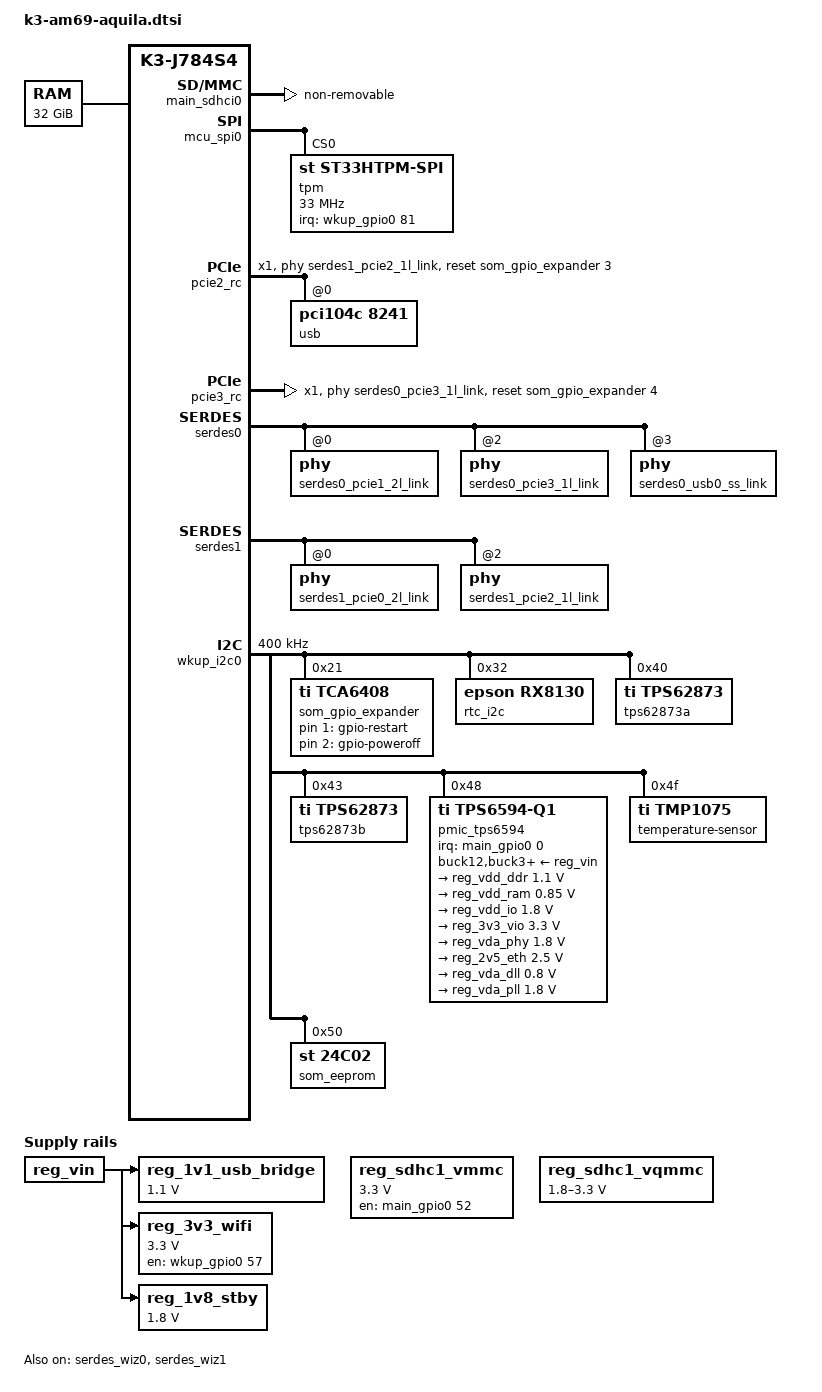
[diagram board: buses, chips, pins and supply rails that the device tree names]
// SPDX-License-Identifier: GPL-2.0-or-later OR MIT
/*
 * Copyright (C) 2025 Toradex
 *
 * https://www.toradex.com/computer-on-modules/aquila-arm-family/ti-am69
 */

#include <dt-bindings/gpio/gpio.h>
#include <dt-bindings/input/input.h>
#include <dt-bindings/net/ti-dp83867.h>
#include <dt-bindings/phy/phy-cadence.h>
#include <dt-bindings/usb/pd.h>
#include "k3-j784s4.dtsi"

/ {
	chosen {
		stdout-path = "serial2:115200n8";
	};

	aliases {
		can0 = &main_mcan10;
		can1 = &mcu_mcan0;
		can2 = &main_mcan13;
		can3 = &mcu_mcan1;
		eeprom0 = &som_eeprom;
		ethernet0 = &mcu_cpsw_port1;
		ethernet1 = &main_cpsw0_port8;
		i2c0 = &wkup_i2c0;
		i2c1 = &mcu_i2c0;
		i2c2 = &mcu_i2c1;
		i2c3 = &main_i2c0;
		i2c4 = &main_i2c1;
		i2c5 = &main_i2c2;
		i2c6 = &main_i2c5;
		mmc0 = &main_sdhci0;
		mmc1 = &main_sdhci1;
		rtc0 = &rtc_i2c;
		serial0 = &main_uart4;
		serial1 = &wkup_uart0;
		serial2 = &main_uart8;
		serial3 = &mcu_uart0;
		usb0 = &usb0;
	};

	aquila_key_power: gpio-key-power {
		compatible = "gpio-keys";
		pinctrl-names = "default";
		pinctrl-0 = <&pinctrl_pwr_btn_int>;
		status = "disabled";

		key-power {
			/* Aquila CTRL_PWR_BTN_MICO# (AQUILA B93) */
			gpios = <&wkup_gpio0 36 GPIO_ACTIVE_LOW>;
			label = "Power Button";
			linux,code = <KEY_POWER>;
		};
	};

	aquila_key_wake: gpio-key-wakeup {
		compatible = "gpio-keys";
		pinctrl-names = "default";
		pinctrl-0 = <&pinctrl_ctrl_wake1_mico>;
		status = "disabled";

		key-wakeup {
			/* Aquila CTRL_WAKE1_MICO# (AQUILA D6) */
			gpios = <&wkup_gpio0 49 GPIO_ACTIVE_LOW>;
			label = "Wake Up";
			linux,code = <KEY_WAKEUP>;
			wakeup-source;
		};
	};

	/* Aquila CTRL_RESET_MICO# (AQUILA B92) */
	gpio-restart {
		compatible = "gpio-restart";
		/* COLD_RESET_REQ */
		gpios = <&som_gpio_expander 1 GPIO_ACTIVE_HIGH>;
		priority = <192>;
	};

	/* PWR_DOWN_REQ */
	gpio-poweroff {
		compatible = "gpio-poweroff";
		/* PWR_DOWN_REQ */
		gpios = <&som_gpio_expander 2 GPIO_ACTIVE_HIGH>;
		timeout-ms = <3000>;
	};

	memory@80000000 {
		device_type = "memory";
		/* 32G RAM */
		reg = <0x00 0x80000000 0x00 0x80000000>,
		      <0x08 0x80000000 0x07 0x80000000>;
	};

	reserved_memory: reserved-memory {
		#address-cells = <2>;
		#size-cells = <2>;
		ranges;

		secure_ddr: optee@9e800000 {
			reg = <0x00 0x9e800000 0x00 0x01800000>;
			no-map;
		};

		mcu_r5fss0_core0_dma_memory_region: memory@a0000000 {
			compatible = "shared-dma-pool";
			reg = <0x00 0xa0000000 0x00 0x100000>;
			no-map;
		};

		mcu_r5fss0_core0_memory_region: memory@a0100000 {
			compatible = "shared-dma-pool";
			reg = <0x00 0xa0100000 0x00 0xf00000>;
			no-map;
		};
	};

	/* Module Power Supply (VCC) */
	reg_vin: regulator-vin {
		compatible = "regulator-fixed";
		regulator-name = "+V_IN";
	};

	/* Enabled by EN_3V3_VIO (PMIC_GPIO_9) */
	reg_1v1_usb_bridge: regulator-1v1-vio {
		compatible = "regulator-fixed";
		regulator-max-microvolt = <1100000>;
		regulator-min-microvolt = <1100000>;
		regulator-name = "+V1.1_VIO";
		vin-supply = <&reg_vin>;
	};

	reg_3v3_wifi: regulator-3v3-wifi {
		compatible = "regulator-fixed";
		pinctrl-names = "default";
		pinctrl-0 = <&pinctrl_en_3v3_wifi>;
		gpio = <&wkup_gpio0 57 GPIO_ACTIVE_HIGH>;
		enable-active-high;
		regulator-always-on;
		regulator-boot-on;
		regulator-max-microvolt = <3300000>;
		regulator-min-microvolt = <3300000>;
		regulator-name = "+V3.3_WIFI";
		startup-delay-us = <20000>;
		vin-supply = <&reg_vin>;
	};

	reg_1v8_stby: regulator-1v8-stby {
		compatible = "regulator-fixed";
		regulator-max-microvolt = <1800000>;
		regulator-min-microvolt = <1800000>;
		regulator-name = "+V1.8_STBY";
		vin-supply = <&reg_vin>;
	};

	/* Aquila SD_1_PWR_EN */
	reg_sdhc1_vmmc: regulator-sdhci1 {
		compatible = "regulator-fixed";
		pinctrl-names = "default";
		pinctrl-0 = <&pinctrl_sd1_pwr_en>;
		/* Aquila SD_1_PWR_EN (AQUILA A6) */
		gpio = <&main_gpio0 52 GPIO_ACTIVE_HIGH>;
		enable-active-high;
		off-on-delay-us = <100000>;
		regulator-max-microvolt = <3300000>;
		regulator-min-microvolt = <3300000>;
		regulator-name = "+3V3_SD";
		startup-delay-us = <20000>;
	};

	reg_sdhc1_vqmmc: regulator-sdhci1-vqmmc {
		compatible = "regulator-gpio";
		/* SDIO_PWR_SEL_3.3V */
		gpios = <&som_gpio_expander 7 GPIO_ACTIVE_HIGH>;
		regulator-max-microvolt = <3300000>;
		regulator-min-microvolt = <1800000>;
		regulator-name = "+VDD_SD_DV";
		states = <1800000 0x0>,
			 <3300000 0x1>;
	};

	/* On-module USB_1_SS mux */
	usb0ss_mux: gpio-sbu-mux {
		compatible = "ti,tmuxhs4212", "gpio-sbu-mux";
		orientation-switch;
		/* USB_MUX_SEL */
		select-gpios = <&som_gpio_expander 0 GPIO_ACTIVE_HIGH>;
		status = "disabled";
	};
};

&main_pmx0 {
	/* Aquila DP_1_HPD */
	pinctrl_main_dp0_hpd: main-dp0-hpd-default-pins {
		pinctrl-single,pins = <
			J784S4_IOPAD(0x014, PIN_INPUT, 13) /* (AG33) MCAN14_TX.DP0_HPD */ /* AQUILA B59 */
		>;
	};

	/* Aquila PWM_1 */
	pinctrl_main_ehrpwm0_b: main-ehrpwm0b-default-pins {
		pinctrl-single,pins = <
			J784S4_IOPAD(0x064, PIN_OUTPUT, 9) /* (AF38) MCAN0_TX.EHRPWM0_B */ /* AQUILA C25 */
		>;
	};

	/* Aquila PWM_2 */
	pinctrl_main_ehrpwm1_a: main-ehrpwm1a-default-pins {
		pinctrl-single,pins = <
			J784S4_IOPAD(0x060, PIN_OUTPUT, 9) /* (AE36) MCASP2_AXR1.EHRPWM1_A */ /* AQUILA C26 */
		>;
	};

	/* Aquila PWM_3_DSI */
	pinctrl_main_ehrpwm5_a: main-ehrpwm5a-default-pins {
		pinctrl-single,pins = <
			J784S4_IOPAD(0x084, PIN_OUTPUT, 9) /* (AG38) MCASP0_AXR5.EHRPWM5_A */ /* AQUILA B46 */
		>;
	};

	/* Aquila PWM_4_DP */
	pinctrl_main_ehrpwm2_a: main-ehrpwm2a-default-pins {
		pinctrl-single,pins = <
			J784S4_IOPAD(0x040, PIN_INPUT, 9) /* (AF37) MCASP0_AXR0.EHRPWM2_A */ /* AQUILA B58 */
		>;
	};

	/* PMIC_INT# */
	pinctrl_pmic_int: main-gpio0-0-default-pins {
		pinctrl-single,pins = <
			J784S4_IOPAD(0x000, PIN_INPUT, 7) /* (AN35) EXTINTn.GPIO0_0 */
		>;
	};

	/* Aquila GPIO_09_CSI_1 */
	pinctrl_gpio_09_csi_1: main-gpio0-1-default-pins {
		pinctrl-single,pins = <
			J784S4_IOPAD(0x004, PIN_INPUT, 7) /* (AG36) MCAN12_TX.GPIO0_1 */ /* AQUILA B17 */
		>;
	};

	/* Aquila GPIO_10_CSI_1 */
	pinctrl_gpio_10_csi_1: main-gpio0-2-default-pins {
		pinctrl-single,pins = <
			J784S4_IOPAD(0x008, PIN_INPUT, 7) /* (AJ33) MCAN12_RX.GPIO0_2 */ /* AQUILA B18 */
		>;
	};

	/* Aquila USB_1_OC# */
	pinctrl_usb1_oc: main-gpio0-10-default-pins {
		pinctrl-single,pins = <
			J784S4_IOPAD(0x028, PIN_INPUT, 7) /* (AE33) MCAN16_RX.GPIO0_10 */ /* AQUILA B75 */
		>;
	};

	/* Aquila USB_1_EN */
	pinctrl_usb1_en_gpio: main-gpio0-11-default-pins {
		pinctrl-single,pins = <
			J784S4_IOPAD(0x02c, PIN_INPUT, 7) /* (AL32) GPIO0_11 */ /* AQUILA B77 */
		>;
	};

	/* Aquila GPIO_17_DSI_1 */
	pinctrl_gpio_17_dsi_1: main-gpio0-12-default-pins {
		pinctrl-single,pins = <
			J784S4_IOPAD(0x030, PIN_INPUT, 7) /* (AK37) GPIO0_12 */ /* AQUILA B42 */
		>;
	};

	/* Aquila GPIO_19_DSI_1 */
	pinctrl_gpio_19_dsi_1: main-gpio0-13-default-pins {
		pinctrl-single,pins = <
			J784S4_IOPAD(0x034, PIN_INPUT, 7) /* (AJ34) PMIC_WAKE0n.GPIO0_13 */ /* AQUILA B44 */
		>;
	};

	/* Aquila GPIO_02 */
	pinctrl_gpio_02: main-gpio0-17-default-pins {
		pinctrl-single,pins = <
			J784S4_IOPAD(0x044, PIN_INPUT, 7) /* (AG37) MCASP0_AXR1.GPIO0_17 */ /* AQUILA D24 */
		>;
	};

	/* Aquila GPIO_20_DSI_1 */
	pinctrl_gpio_20_dsi_1: main-gpio0-18-default-pins {
		pinctrl-single,pins = <
			J784S4_IOPAD(0x048, PIN_INPUT, 7) /* (AK33) MCASP0_AXR2.GPIO0_18 */ /* AQUILA B45 */
		>;
	};

	/* Aquila GPIO_21_DP */
	pinctrl_gpio_21_dp: main-gpio0-21-default-pins {
		pinctrl-single,pins = <
			J784S4_IOPAD(0x054, PIN_INPUT, 7) /* (AD37) MCASP2_ACLKX.GPIO0_21 */ /* AQUILA B57 */
		>;
	};

	/* Aquila USB_1_INT# */
	pinctrl_usb1_int: main-gpio0-28-default-pins {
		pinctrl-single,pins = <
			J784S4_IOPAD(0x070, PIN_INPUT, 7) /* (AH38) MCAN1_RX.GPIO0_28 */ /* AQUILA B74 */
		>;
	};

	/* Aquila GPIO_03 */
	pinctrl_gpio_03: main-gpio0-29-default-pins {
		pinctrl-single,pins = <
			J784S4_IOPAD(0x074, PIN_INPUT, 7) /* (AC33) MCAN2_TX.GPIO0_29 */ /* AQUILA D25 */
		>;
	};

	/* Aquila GPIO_18_DSI_1 */
	pinctrl_gpio_18_dsi_1: main-gpio0-31-default-pins {
		pinctrl-single,pins = <
			J784S4_IOPAD(0x07c, PIN_INPUT, 7) /* (AJ38) MCASP0_AXR3.GPIO0_31 */ /* AQUILA B43 */
		>;
	};

	/* Aquila PCIE_1_RESET# */
	pinctrl_pcie0_reset: main-gpio0-32-default-pins {
		pinctrl-single,pins = <
			J784S4_IOPAD(0x080, PIN_INPUT, 7) /* (AK34) MCASP0_AXR4.GPIO0_32 */ /* AQUILA C38 */
		>;
	};

	/* Aquila PWM_3_DSI as GPIO */
	pinctrl_pwm3_dsi_gpio: main-gpio0-33-default-pins {
		pinctrl-single,pins = <
			J784S4_IOPAD(0x084, PIN_INPUT, 7) /* (AG38) MCASP0_AXR5.GPIO0_33 */ /* AQUILA B46 */
		>;
	};

	/* Aquila GPIO_01 */
	pinctrl_gpio_01: main-gpio0-34-default-pins {
		pinctrl-single,pins = <
			J784S4_IOPAD(0x088, PIN_INPUT, 7) /* (AF36) MCASP0_AXR6.GPIO0_34 */ /* AQUILA D23 */
		>;
	};

	/* Aquila PCIE_2_RESET# */
	pinctrl_pcie1_reset: main-gpio0-41-default-pins {
		pinctrl-single,pins = <
			J784S4_IOPAD(0x0a4, PIN_INPUT, 7) /* (AJ36) MCASP0_AXR13.GPIO0_41 */ /* AQUILA C35 */
		>;
	};

	/* Aquila ETH_2_xGMII_INT# */
	pinctrl_eth2_int: main-gpio0-44-default-pins {
		pinctrl-single,pins = <
			J784S4_IOPAD(0x0b0, PIN_INPUT_PULLUP, 7) /* (AL33) MCASP1_AXR3.GPIO0_44 */ /* AQUILA B81 */
		>;
	};

	/* Aquila GPIO_11_CSI_1 */
	pinctrl_gpio_11_csi_1: main-gpio0-47-default-pins {
		pinctrl-single,pins = <
			J784S4_IOPAD(0x0bc, PIN_INPUT, 7) /* (AD33) MCASP1_AFSX.GPIO0_47 */ /* AQUILA A11 */
		>;
	};

	/* Aquila GPIO_12_CSI_1 */
	pinctrl_gpio_12_csi_1: main-gpio0-48-default-pins {
		pinctrl-single,pins = <
			J784S4_IOPAD(0x0c0, PIN_INPUT, 7) /* (AD38) MCASP1_AXR0.GPIO0_48 */ /* AQUILA B19 */
		>;
	};

	/* Aquila SD_1_PWR_EN */
	pinctrl_sd1_pwr_en: main-gpio0-52-default-pins {
		pinctrl-single,pins = <
			J784S4_IOPAD(0x0d0, PIN_INPUT, 7) /* (AP38) SPI0_CS1.GPIO0_52 */ /* AQUILA A6 */
		>;
	};

	/* Aquila SD_1_CD# as GPIO */
	pinctrl_sd1_cd_gpio: main-gpio0-58-default-pins {
		pinctrl-single,pins = <
			J784S4_IOPAD(0x0e8, PIN_INPUT_PULLUP, 7) /* (AR38) TIMER_IO0.GPIO0_58 */ /* AQUILA A1 */
		>;
	};

	/* Aquila I2C_3_DSI1 */
	pinctrl_main_i2c0: main-i2c0-default-pins {
		pinctrl-single,pins = <
			J784S4_IOPAD(0x0e0, PIN_INPUT, 0) /* (AN36) I2C0_SCL */ /* AQUILA B41 */
			J784S4_IOPAD(0x0e4, PIN_INPUT, 0) /* (AP37) I2C0_SDA */ /* AQUILA B40 */
			>;
	};

	/* Aquila I2C_4_CSI1 */
	pinctrl_main_i2c1: main-i2c1-default-pins {
		pinctrl-single,pins = <
			J784S4_IOPAD(0x020, PIN_INPUT_PULLUP, 12) /* (AJ35) MCAN15_RX.I2C1_SCL */ /* AQUILA A13 */
			J784S4_IOPAD(0x024, PIN_INPUT_PULLUP, 12) /* (AH34) MCAN16_TX.I2C1_SDA */ /* AQUILA A12 */
			>;
	};

	/* Aquila I2C_5_CSI2 */
	pinctrl_main_i2c2: main-i2c2-default-pins {
		pinctrl-single,pins = <
			J784S4_IOPAD(0x04c, PIN_INPUT_PULLUP, 13) /* (AC32) MCASP1_AXR1.I2C2_SCL */ /* AQUILA C6 */
			J784S4_IOPAD(0x050, PIN_INPUT_PULLUP, 13) /* (AC37) MCASP1_AXR2.I2C2_SDA */ /* AQUILA C5 */
			>;
	};

	/* Aquila I2C_6 */
	pinctrl_main_i2c5: main-i2c5-default-pins {
		pinctrl-single,pins = <
			J784S4_IOPAD(0x01c, PIN_INPUT_PULLUP, 8) /* (AG34) MCAN15_TX.I2C5_SCL */ /* AQUILA C19 */
			J784S4_IOPAD(0x018, PIN_INPUT_PULLUP, 8) /* (AK36) MCAN14_RX.I2C5_SDA */ /* AQUILA C18 */
			>;
	};

	/* Aquila I2S_1_MCLK */
	pinctrl_audio_extrefclk1: audio-extrefclk1-default-pins {
		pinctrl-single,pins = <
			J784S4_IOPAD(0x078, PIN_OUTPUT, 1) /* (AH37) MCAN2_RX.AUDIO_EXT_REFCLK1 */ /* AQUILA B24 */
		>;
	};

	/* Aquila CAN_1 */
	pinctrl_main_mcan10: main-mcan10-default-pins {
		pinctrl-single,pins = <
			J784S4_IOPAD(0x0b8, PIN_INPUT, 0)  /* (AC34) MCASP1_ACLKX.MCAN10_RX */ /* AQUILA B49 */
			J784S4_IOPAD(0x0b4, PIN_OUTPUT, 0) /* (AL34) MCASP1_AXR4.MCAN10_TX  */ /* AQUILA B48 */
		>;
	};

	/* Aquila CAN_3 */
	pinctrl_main_mcan13: main-mcan13-default-pins {
		pinctrl-single,pins = <
			J784S4_IOPAD(0x010, PIN_INPUT, 0)  /* (AH33) MCAN13_RX */ /* AQUILA B54 */
			J784S4_IOPAD(0x00c, PIN_OUTPUT, 0) /* (AF33) MCAN13_TX */ /* AQUILA B53 */
		>;
	};

	/* Aquila I2S_1 */
	pinctrl_main_mcasp4: main-mcasp4-default-pins {
		pinctrl-single,pins = <
			J784S4_IOPAD(0x0c8, PIN_INPUT, 1)  /* (AJ32) EXT_REFCLK1.MCASP4_ACLKX      */ /* AQUILA B20 */
			J784S4_IOPAD(0x06c, PIN_INPUT, 1)  /* (AJ37) MCAN1_TX.MCASP4_AFSX          */ /* AQUILA B21 */
			J784S4_IOPAD(0x068, PIN_OUTPUT, 1) /* (AE38) MCAN0_RX.MCASP4_AXR1          */ /* AQUILA B22 */
			J784S4_IOPAD(0x0c4, PIN_INPUT, 1)  /* (AD36) ECAP0_IN_APWM_OUT.MCASP4_AXR2 */ /* AQUILA B23 */
		>;
	};

	/* Aquila ETH_2_XGMII_MDIO */
	pinctrl_main_mdio1: main-mdio1-default-pins {
		pinctrl-single,pins = <
			J784S4_IOPAD(0x058, PIN_OUTPUT, 4) /* (AE37) MCASP2_AFSX.MDIO1_MDC  */ /* AQUILA B90 */
			J784S4_IOPAD(0x05c, PIN_INPUT, 4)  /* (AC36) MCASP2_AXR0.MDIO1_MDIO */ /* AQUILA B89 */
		>;
	};

	/* Aquila SD_1 */
	pinctrl_main_mmc1: main-mmc1-default-pins {
		pinctrl-single,pins = <
			J784S4_IOPAD(0x104, PIN_INPUT, 0) /* (AB38) MMC1_CLK  */ /* AQUILA A5  */
			J784S4_IOPAD(0x108, PIN_INPUT, 0) /* (AB36) MMC1_CMD  */ /* AQUILA A7  */
			J784S4_IOPAD(0x100, PIN_INPUT, 0) /* (No Pin) MMC1_CLKLB */
			J784S4_IOPAD(0x0fc, PIN_INPUT, 0) /* (AA33) MMC1_DAT0 */ /* AQUILA A3  */
			J784S4_IOPAD(0x0f8, PIN_INPUT, 0) /* (AB34) MMC1_DAT1 */ /* AQUILA A2  */
			J784S4_IOPAD(0x0f4, PIN_INPUT, 0) /* (AA32) MMC1_DAT2 */ /* AQUILA A10 */
			J784S4_IOPAD(0x0f0, PIN_INPUT, 0) /* (AC38) MMC1_DAT3 */ /* AQUILA A8  */
		>;
	};

	/* Aquila SPI_2 */
	pinctrl_main_spi0: main-spi0-default-pins {
		pinctrl-single,pins = <
			J784S4_IOPAD(0x0d4, PIN_OUTPUT, 0) /* (AN38) SPI0_CLK */ /* AQUILA D14 */
			J784S4_IOPAD(0x0d8, PIN_INPUT, 0)  /* (AM35) SPI0_D0  */ /* AQUILA D15 */
			J784S4_IOPAD(0x0dc, PIN_OUTPUT, 0) /* (AM36) SPI0_D1  */ /* AQUILA D17 */
		>;
	};

	/* Aquila SPI_2 CS */
	pinctrl_main_spi0_cs0: main-spi0-cs0-default-pins {
		pinctrl-single,pins = <
			J784S4_IOPAD(0x0cc, PIN_OUTPUT, 7) /* (AM37) SPI0_CS0.GPIO0_51 */ /* AQUILA D16 */
		>;
	};

	/* Aquila SPI_1 */
	pinctrl_main_spi2: main-spi2-default-pins {
		pinctrl-single,pins = <
			J784S4_IOPAD(0x0a0, PIN_OUTPUT, 10) /* (AD34) MCASP0_AXR12.SPI2_CLK */ /* AQUILA D12 */
			J784S4_IOPAD(0x0a8, PIN_INPUT, 10)  /* (AF34) MCASP0_AXR14.SPI2_D0  */ /* AQUILA D10 */
			J784S4_IOPAD(0x0ac, PIN_OUTPUT, 10) /* (AE34) MCASP0_AXR15.SPI2_D1  */ /* AQUILA D11 */
			>;
	};

	/* Aquila SPI_1 CS */
	pinctrl_main_spi2_cs0: main-spi2-cs0-default-pins {
		pinctrl-single,pins = <
			J784S4_IOPAD(0x09c, PIN_OUTPUT, 7) /* (AF35) MCASP0_AXR11.GPIO0_39 */ /* AQUILA D9 */
		>;
	};

	/* Aquila UART_1 */
	pinctrl_main_uart4: main-uart4-default-pins {
		pinctrl-single,pins = <
			J784S4_IOPAD(0x094, PIN_INPUT, 11)  /* (AG35) MCASP0_AXR9.UART4_CTSn  */ /* AQUILA B36 */
			J784S4_IOPAD(0x098, PIN_OUTPUT, 11) /* (AH36) MCASP0_AXR10.UART4_RTSn */ /* AQUILA B38 */
			J784S4_IOPAD(0x08c, PIN_INPUT, 11)  /* (AE35) MCASP0_AXR7.UART4_RXD   */ /* AQUILA B35 */
			J784S4_IOPAD(0x090, PIN_OUTPUT, 11) /* (AC35) MCASP0_AXR8.UART4_TXD   */ /* AQUILA B37 */
		>;
	};

	/* Aquila UART_3, used as the Linux console */
	pinctrl_main_uart8: main-uart8-default-pins {
		pinctrl-single,pins = <
			J784S4_IOPAD(0x038, PIN_INPUT, 11)  /* (AK35) MCASP0_ACLKX.UART8_RXD */ /* AQUILA D19 */
			J784S4_IOPAD(0x03c, PIN_OUTPUT, 11) /* (AK38) MCASP0_AFSX.UART8_TXD  */ /* AQUILA D20 */
		>;
	};
};

&wkup_pmx0 {
	/* Aquila QSPI_1 (4-bit) */
	pinctrl_mcu_ospi0_4bit: mcu-ospi0-4bit-default-pins {
		pinctrl-single,pins = <
			J784S4_WKUP_IOPAD(0x000, PIN_OUTPUT, 0) /* (E32) MCU_OSPI0_CLK  */ /* AQUILA B65 */
			J784S4_WKUP_IOPAD(0x00c, PIN_INPUT, 0)  /* (B33) MCU_OSPI0_D0   */ /* AQUILA B68 */
			J784S4_WKUP_IOPAD(0x010, PIN_INPUT, 0)  /* (B32) MCU_OSPI0_D1   */ /* AQUILA B67 */
			J784S4_WKUP_IOPAD(0x014, PIN_INPUT, 0)  /* (C33) MCU_OSPI0_D2   */ /* AQUILA B61 */
			J784S4_WKUP_IOPAD(0x018, PIN_INPUT, 0)  /* (C35) MCU_OSPI0_D3   */ /* AQUILA B60 */
			J784S4_WKUP_IOPAD(0x008, PIN_INPUT, 0)  /* (C34) MCU_OSPI0_DQS  */ /* AQUILA B63 */
		>;
	};

	/* Aquila QSPI_1 (8-bit) */
	pinctrl_mcu_ospi0_8bit: mcu-ospi0-8bit-default-pins {
		pinctrl-single,pins = <
			J784S4_WKUP_IOPAD(0x000, PIN_OUTPUT, 0) /* (E32) MCU_OSPI0_CLK  */ /* AQUILA B65 */
			J784S4_WKUP_IOPAD(0x00c, PIN_INPUT, 0)  /* (B33) MCU_OSPI0_D0   */ /* AQUILA B68 */
			J784S4_WKUP_IOPAD(0x010, PIN_INPUT, 0)  /* (B32) MCU_OSPI0_D1   */ /* AQUILA B67 */
			J784S4_WKUP_IOPAD(0x014, PIN_INPUT, 0)  /* (C33) MCU_OSPI0_D2   */ /* AQUILA B61 */
			J784S4_WKUP_IOPAD(0x018, PIN_INPUT, 0)  /* (C35) MCU_OSPI0_D3   */ /* AQUILA B60 */
			J784S4_WKUP_IOPAD(0x01c, PIN_INPUT, 0)  /* (D33) MCU_OSPI0_D4   */ /* AQUILA B70 */
			J784S4_WKUP_IOPAD(0x020, PIN_INPUT, 0)  /* (D34) MCU_OSPI0_D5   */ /* AQUILA B71 */
			J784S4_WKUP_IOPAD(0x024, PIN_INPUT, 0)  /* (E34) MCU_OSPI0_D6   */ /* AQUILA B72 */
			J784S4_WKUP_IOPAD(0x028, PIN_INPUT, 0)  /* (E33) MCU_OSPI0_D7   */ /* AQUILA B73 */
			J784S4_WKUP_IOPAD(0x008, PIN_INPUT, 0)  /* (C34) MCU_OSPI0_DQS  */ /* AQUILA B63 */
		>;
	};

	/* Aquila QSPI_1_CS1# */
	pinctrl_mcu_ospi0_cs0: mcu-ospi0-cs0-default-pins {
		pinctrl-single,pins = <
			J784S4_WKUP_IOPAD(0x02c, PIN_OUTPUT, 0) /* (A32) MCU_OSPI0_CSn0 */ /* AQUILA B66 */
		>;
	};

	/* Aquila QSPI_1_CS2# */
	pinctrl_mcu_ospi0_cs1: mcu-ospi0-cs1-default-pins {
		pinctrl-single,pins = <
			J784S4_WKUP_IOPAD(0x030, PIN_OUTPUT, 0) /* (A33) MCU_OSPI0_CSn1 */ /* AQUILA B62 */
		>;
	};

	/* Aquila QSPI_1_SCK as GPIO */
	pinctrl_wkup_gpio_16: wkup-gpio0-16-default-pins {
		pinctrl-single,pins = <
			J784S4_WKUP_IOPAD(0x000, PIN_INPUT, 7) /* (E32) MCU_OSPI0_CLK.WKUP_GPIO0_16 */ /* AQUILA B65 */
		>;
	};

	/* Aquila GPIO_04 */
	pinctrl_gpio_04: wkup-gpio0-17-default-pins {
		pinctrl-single,pins = <
			J784S4_WKUP_IOPAD(0x004, PIN_INPUT, 7) /* (D32) MCU_OSPI0_LBCLKO.WKUP_GPIO0_17 */ /* AQUILA C20 */
		>;
	};

	/* Aquila QSPI_1_DQS as GPIO */
	pinctrl_wkup_gpio_18: wkup-gpio0-18-default-pins {
		pinctrl-single,pins = <
			J784S4_WKUP_IOPAD(0x008, PIN_INPUT, 7) /* (C34) MCU_OSPI0_DQS.WKUP_GPIO0_18 */ /* AQUILA B63 */
		>;
	};

	/* Aquila QSPI_1_IO0 as GPIO */
	pinctrl_wkup_gpio_19: wkup-gpio0-19-default-pins {
		pinctrl-single,pins = <
			J784S4_WKUP_IOPAD(0x00c, PIN_INPUT, 7) /* (B33) MCU_OSPI0_D0.WKUP_GPIO0_19 */ /* AQUILA B68 */
		>;
	};

	/* Aquila QSPI_1_IO1 as GPIO */
	pinctrl_wkup_gpio_20: wkup-gpio0-20-default-pins {
		pinctrl-single,pins = <
			J784S4_WKUP_IOPAD(0x010, PIN_INPUT, 7) /* (B32) MCU_OSPI0_D1.WKUP_GPIO0_20 */ /* AQUILA B67 */
		>;
	};

	/* Aquila QSPI_1_IO2 as GPIO */
	pinctrl_wkup_gpio_21: wkup-gpio0-21-default-pins {
		pinctrl-single,pins = <
			J784S4_WKUP_IOPAD(0x014, PIN_INPUT, 7) /* (C33) MCU_OSPI0_D2.WKUP_GPIO0_21 */ /* AQUILA B61 */
		>;
	};

	/* Aquila QSPI_1_IO3 as GPIO */
	pinctrl_wkup_gpio_22: wkup-gpio0-22-default-pins {
		pinctrl-single,pins = <
			J784S4_WKUP_IOPAD(0x018, PIN_INPUT, 7) /* (C35) MCU_OSPI0_D3.WKUP_GPIO0_22 */ /* AQUILA B60 */
		>;
	};

	/* Aquila QSPI_1_IO4 as GPIO */
	pinctrl_wkup_gpio_23: wkup-gpio0-23-default-pins {
		pinctrl-single,pins = <
			J784S4_WKUP_IOPAD(0x01c, PIN_INPUT, 7) /* (D33) MCU_OSPI0_D4.WKUP_GPIO0_23 */ /* AQUILA B70 */
		>;
	};

	/* Aquila QSPI_1_IO5 as GPIO */
	pinctrl_wkup_gpio_24: wkup-gpio0-24-default-pins {
		pinctrl-single,pins = <
			J784S4_WKUP_IOPAD(0x020, PIN_INPUT, 7) /* (D34) MCU_OSPI0_D5.WKUP_GPIO0_24 */ /* AQUILA B71 */
		>;
	};

	/* Aquila QSPI_1_IO6 as GPIO */
	pinctrl_wkup_gpio_25: wkup-gpio0-25-default-pins {
		pinctrl-single,pins = <
			J784S4_WKUP_IOPAD(0x024, PIN_INPUT, 7) /* (E34) MCU_OSPI0_D6.WKUP_GPIO0_25 */ /* AQUILA B72 */
		>;
	};

	/* Aquila QSPI_1_IO7 as GPIO */
	pinctrl_wkup_gpio_26: wkup-gpio0-26-default-pins {
		pinctrl-single,pins = <
			J784S4_WKUP_IOPAD(0x028, PIN_INPUT, 7) /* (E33) MCU_OSPI0_D7.WKUP_GPIO0_26 */ /* AQUILA B73 */
		>;
	};

	/* Aquila QSPI_1_CS#1 as GPIO */
	pinctrl_wkup_gpio_27: wkup-gpio0-27-default-pins {
		pinctrl-single,pins = <
			J784S4_WKUP_IOPAD(0x02c, PIN_INPUT, 7) /* (A32) MCU_OSPI0_CSn0.WKUP_GPIO0_27 */ /* AQUILA B66 */
		>;
	};

	/* Aquila QSPI_1_CS#2 as GPIO */
	pinctrl_wkup_gpio_28: wkup-gpio0-28-default-pins {
		pinctrl-single,pins = <
			J784S4_WKUP_IOPAD(0x030, PIN_INPUT, 7) /* (A33) MCU_OSPI0_CSn1.WKUP_GPIO0_28 */ /* AQUILA B62 */
		>;
	};
};

&wkup_pmx1 {
	/* Aquila UART_4 (RXD) */
	pinctrl_mcu_uart0_rx: mcu-uart0-rx-default-pins {
		pinctrl-single,pins = <
			J784S4_WKUP_IOPAD(0x018, PIN_INPUT, 4)  /* (D31) MCU_OSPI1_D1.MCU_UART0_RXD */ /* AQUILA D21 */
		>;
	};

	/* Aquila GPIO_05 */
	pinctrl_gpio_05: wkup-gpio0-29-default-pins {
		pinctrl-single,pins = <
			J784S4_WKUP_IOPAD(0x000, PIN_INPUT, 7) /* (B34) MCU_OSPI0_CSn2.WKUP_GPIO0_29 */ /* AQUILA C21 */
		>;
	};

	/* Aquila GPIO_06 */
	pinctrl_gpio_06: wkup-gpio0-30-default-pins {
		pinctrl-single,pins = <
			J784S4_WKUP_IOPAD(0x004, PIN_INPUT, 7) /* (C32) MCU_OSPI0_CSn3.WKUP_GPIO0_30 */ /* AQUILA C22 */
		>;
	};

	/* Aquila GPIO_07 */
	pinctrl_gpio_07: wkup-gpio0-31-default-pins {
		pinctrl-single,pins = <
			J784S4_WKUP_IOPAD(0x008, PIN_INPUT, 7) /* (F32) MCU_OSPI1_CLK.WKUP_GPIO0_31 */ /* AQUILA C23 */
		>;
	};

	/* Aquila GPIO_13_CSI_2 */
	pinctrl_gpio_13_csi_2: wkup-gpio0-32-default-pins {
		pinctrl-single,pins = <
			J784S4_WKUP_IOPAD(0x00c, PIN_INPUT, 7) /* (C31) MCU_OSPI1_LBCLKO.WKUP_GPIO0_32 */ /* AQUILA C1 */
		>;
	};

	/* Aquila GPIO_14_CSI_2 */
	pinctrl_gpio_14_csi_2: wkup-gpio0-33-default-pins {
		pinctrl-single,pins = <
			J784S4_WKUP_IOPAD(0x010, PIN_INPUT, 7) /* (F31) MCU_OSPI1_DQS.WKUP_GPIO0_33 */ /* AQUILA C2 */
		>;
	};

	/* RTC_IRQ# */
	pinctrl_rtc_irq: wkup-gpio0-34-default-pins {
		pinctrl-single,pins = <
			J784S4_WKUP_IOPAD(0x014, PIN_INPUT, 7) /* (E35) MCU_OSPI1_D0.WKUP_GPIO0_34 */
		>;
	};

	/* Aquila CTRL_PWR_BTN_MICO# (PWR_BTN_INT#) */
	pinctrl_pwr_btn_int: wkup-gpio0-36-default-pins {
		pinctrl-single,pins = <
			J784S4_WKUP_IOPAD(0x01c, PIN_INPUT_PULLUP, 7) /* (G31) MCU_OSPI1_D2.WKUP_GPIO0_36 */ /* AQUILA B92 */
		>;
	};

	/* Aquila GPIO_15_CSI_2 */
	pinctrl_gpio_15_csi_2: wkup-gpio0-37-default-pins {
		pinctrl-single,pins = <
			J784S4_WKUP_IOPAD(0x020, PIN_INPUT, 7) /* (F33) MCU_OSPI1_D3.WKUP_GPIO0_37 */ /* AQUILA C3 */
		>;
	};

	/* Aquila GPIO_08 */
	pinctrl_gpio_08: wkup-gpio0-38-default-pins {
		pinctrl-single,pins = <
			J784S4_WKUP_IOPAD(0x024, PIN_INPUT, 7) /* (G32) MCU_OSPI1_CSn0.WKUP_GPIO0_38 */ /* AQUILA C24 */
		>;
	};

	/* Aquila GPIO_16_CSI_2 */
	pinctrl_gpio_16_csi_2: wkup-gpio0-39-default-pins {
		pinctrl-single,pins = <
			J784S4_WKUP_IOPAD(0x028, PIN_INPUT, 7) /* (G33) MCU_OSPI1_CSn1.WKUP_GPIO0_39 */ /* AQUILA C4 */
		>;
	};
};

&wkup_pmx2 {
	/* Aquila ADC_[1-4] */
	pinctrl_mcu_adc0: mcu-adc0-default-pins {
		pinctrl-single,pins = <
			J784S4_WKUP_IOPAD(0x0cc, PIN_OUTPUT, 0) /* (P36) MCU_ADC0_AIN0 */ /* AQUILA D1 */
			J784S4_WKUP_IOPAD(0x0d0, PIN_OUTPUT, 0) /* (V36) MCU_ADC0_AIN1 */ /* AQUILA D2 */
			J784S4_WKUP_IOPAD(0x0d4, PIN_OUTPUT, 0) /* (T34) MCU_ADC0_AIN2 */ /* AQUILA D3 */
			J784S4_WKUP_IOPAD(0x0d8, PIN_OUTPUT, 0) /* (T36) MCU_ADC0_AIN3 */ /* AQUILA D4 */
		>;
	};

	/* Aquila CTRL_MCLK_MOCI */
	pinctrl_mcu_clkout0: mcu-clkout0-default-pins {
		pinctrl-single,pins = <
			J784S4_WKUP_IOPAD(0x084, PIN_OUTPUT, 6) /* (M38) WKUP_GPIO0_11.MCU_CLKOUT0 */ /* AQUILA A14 */
		>;
	};

	/* Aquila I2C_1 */
	pinctrl_mcu_i2c0: mcu-i2c0-default-pins {
		pinctrl-single,pins = <
			J784S4_WKUP_IOPAD(0x0a0, PIN_INPUT, 0) /* (M35) MCU_I2C0_SCL */ /* AQUILA D8 */
			J784S4_WKUP_IOPAD(0x0a4, PIN_INPUT, 0) /* (G34) MCU_I2C0_SDA */ /* AQUILA D7 */
		>;
	};

	/* Aquila I2C_2 */
	pinctrl_mcu_i2c1: mcu-i2c1-default-pins {
		pinctrl-single,pins = <
			J784S4_WKUP_IOPAD(0x078, PIN_INPUT_PULLUP, 0) /* (L35) WKUP_GPIO0_8.MCU_I2C1_SCL */ /* AQUILA C17 */
			J784S4_WKUP_IOPAD(0x07c, PIN_INPUT_PULLUP, 0) /* (L34) WKUP_GPIO0_9.MCU_I2C1_SDA */ /* AQUILA C16 */
		>;
	};

	/* Aquila CAN_2 */
	pinctrl_mcu_mcan0: mcu-mcan0-default-pins {
		pinctrl-single,pins = <
			J784S4_WKUP_IOPAD(0x054, PIN_INPUT, 0)  /* (F38) MCU_MCAN0_RX  */ /* AQUILA B51 */
			J784S4_WKUP_IOPAD(0x050, PIN_OUTPUT, 0) /* (K33) MCU_MCAN0_TX  */ /* AQUILA B50 */
		>;
	};

	/* Aquila CAN_4 */
	pinctrl_mcu_mcan1: mcu-mcan1-default-pins {
		pinctrl-single,pins = <
			J784S4_WKUP_IOPAD(0x06c, PIN_INPUT, 0)  /* (K36) WKUP_GPIO0_5.MCU_MCAN1_RX */ /* AQUILA B56 */
			J784S4_WKUP_IOPAD(0x068, PIN_OUTPUT, 0) /* (H35) WKUP_GPIO0_4.MCU_MCAN1_TX */ /* AQUILA B55 */
		>;
	};

	/* On-module ETH_1 MDIO */
	pinctrl_mcu_mdio: mcu-mdio-default-pins {
		pinctrl-single,pins = <
			J784S4_WKUP_IOPAD(0x034, PIN_OUTPUT, 0) /* (A36) MCU_MDIO0_MDC  */
			J784S4_WKUP_IOPAD(0x030, PIN_INPUT, 0)  /* (B35) MCU_MDIO0_MDIO */
		>;
	};

	/* On-module ETH_1 RGMII */
	pinctrl_mcu_rgmii1: mcu-rgmii1-default-pins {
		pinctrl-single,pins = <
			J784S4_WKUP_IOPAD(0x02c, PIN_INPUT, 0)  /* (A35) MCU_RGMII1_RD0    */
			J784S4_WKUP_IOPAD(0x028, PIN_INPUT, 0)  /* (B36) MCU_RGMII1_RD1    */
			J784S4_WKUP_IOPAD(0x024, PIN_INPUT, 0)  /* (C36) MCU_RGMII1_RD2    */
			J784S4_WKUP_IOPAD(0x020, PIN_INPUT, 0)  /* (D36) MCU_RGMII1_RD3    */
			J784S4_WKUP_IOPAD(0x01c, PIN_INPUT, 0)  /* (B37) MCU_RGMII1_RXC    */
			J784S4_WKUP_IOPAD(0x004, PIN_INPUT, 0)  /* (C37) MCU_RGMII1_RX_CTL */
			J784S4_WKUP_IOPAD(0x014, PIN_OUTPUT, 0) /* (D37) MCU_RGMII1_TD0    */
			J784S4_WKUP_IOPAD(0x010, PIN_OUTPUT, 0) /* (D38) MCU_RGMII1_TD1    */
			J784S4_WKUP_IOPAD(0x00c, PIN_OUTPUT, 0) /* (E37) MCU_RGMII1_TD2    */
			J784S4_WKUP_IOPAD(0x008, PIN_OUTPUT, 0) /* (E38) MCU_RGMII1_TD3    */
			J784S4_WKUP_IOPAD(0x018, PIN_OUTPUT, 0) /* (E36) MCU_RGMII1_TXC    */
			J784S4_WKUP_IOPAD(0x000, PIN_OUTPUT, 0) /* (C38) MCU_RGMII1_TX_CTL */
		>;
	};

	/* On-module SPI (TPM_SPI) */
	pinctrl_mcu_spi0: mcu-spi0-default-pins {
		pinctrl-single,pins = <
			J784S4_WKUP_IOPAD(0x038, PIN_OUTPUT, 0) /* (G38) MCU_SPI0_CLK */
			J784S4_WKUP_IOPAD(0x044, PIN_OUTPUT, 0) /* (F37) MCU_SPI0_CS0 */
			J784S4_WKUP_IOPAD(0x03c, PIN_INPUT, 0)  /* (H36) MCU_SPI0_D0  */
			J784S4_WKUP_IOPAD(0x040, PIN_OUTPUT, 0) /* (J38) MCU_SPI0_D1  */
		>;
	};

	/* Aquila UART_4 (TX) */
	pinctrl_mcu_uart0_tx: mcu-uart0-tx-default-pins {
		pinctrl-single,pins = <
			J784S4_WKUP_IOPAD(0x080, PIN_OUTPUT, 2) /* (L33) WKUP_GPIO0_10.MCU_UART0_TXD */ /* AQUILA D22 */
		>;
	};

	/* On-module Wi-Fi Power Enable */
	pinctrl_en_3v3_wifi: wkup-gpio0-57-default-pins {
		pinctrl-single,pins = <
			J784S4_WKUP_IOPAD(0x114, PIN_INPUT, 7) /* (M36) WKUP_GPIO0_57 */
		>;
	};

	/* On-module TPM IRQ# */
	pinctrl_tpm_irq: wkup-gpio0-81-default-pins {
		pinctrl-single,pins = <
			J784S4_WKUP_IOPAD(0x0f4, PIN_INPUT, 7) /* (V34) MCU_ADC1_AIN2.WKUP_GPIO0_81 */
		>;
	};

	/* On-module I2C - WKUP_I2C0 */
	pinctrl_wkup_i2c0: wkup-i2c0-default-pins {
		pinctrl-single,pins = <
			J784S4_WKUP_IOPAD(0x098, PIN_INPUT, 0) /* (N33) WKUP_I2C0_SCL */
			J784S4_WKUP_IOPAD(0x09c, PIN_INPUT, 0) /* (N35) WKUP_I2C0_SDA */
		>;
	};

	/* Aquila UART_2 */
	pinctrl_wkup_uart0: wkup-uart0-default-pins {
		pinctrl-single,pins = <
			J784S4_WKUP_IOPAD(0x070, PIN_INPUT, 0)  /* (L37) WKUP_GPIO0_6.WKUP_UART0_CTSn */ /* AQUILA B32 */
			J784S4_WKUP_IOPAD(0x074, PIN_OUTPUT, 0) /* (L36) WKUP_GPIO0_7.WKUP_UART0_RTSn */ /* AQUILA B34 */
			J784S4_WKUP_IOPAD(0x048, PIN_INPUT, 0)  /* (K35) WKUP_UART0_RXD               */ /* AQUILA B31 */
			J784S4_WKUP_IOPAD(0x04c, PIN_OUTPUT, 0) /* (K34) WKUP_UART0_TXD               */ /* AQUILA B33 */
		>;
	};
};

&wkup_pmx3 {
	/* Aquila CTRL_WAKE1_MICO# */
	pinctrl_ctrl_wake1_mico: wkup-gpio0-49-default-pins {
		pinctrl-single,pins = <
			J784S4_WKUP_IOPAD(0x000, PIN_INPUT_PULLUP, 7) /* (M33) WKUP_GPIO0_49 */ /* AQUILA D6 */
		>;
	};
};

/* Aquila I2S_1_MCLK */
&audio_refclk1 {
	assigned-clock-rates = <24576000>;
};

/* On-module ETH_1 MDIO */
&davinci_mdio {
	pinctrl-names = "default";
	pinctrl-0 = <&pinctrl_mcu_mdio>;
	status = "disabled";

	mcu_phy0: ethernet-phy@0 {
		reg = <0>;
		interrupt-parent = <&wkup_gpio0>;
		interrupts = <79 IRQ_TYPE_EDGE_FALLING>;
		ti,rx-internal-delay = <DP83867_RGMIIDCTL_2_00_NS>;
		ti,fifo-depth = <DP83867_PHYCR_FIFO_DEPTH_4_B_NIB>;
	};
};

&dss {
	assigned-clocks = <&k3_clks 218 2>,
			  <&k3_clks 218 5>;
	assigned-clock-parents = <&k3_clks 218 3>,
				 <&k3_clks 218 7>;
	status = "disabled";
};

&dss_ports {
	#address-cells = <1>;
	#size-cells = <0>;

	port@0 {
		reg = <0>;
		dpi0_out: endpoint {
			remote-endpoint = <&dp0_in>;
		};
	};
};

&dp0_ports {
	#address-cells = <1>;
	#size-cells = <0>;

	port@0 {
		reg = <0>;
		dp0_in: endpoint {
			remote-endpoint = <&dpi0_out>;
		};
	};
};

&main0_crit {
	temperature = <105000>;
};

&main0_thermal {
	trips {
		main0_alert0: trip-point0 {
			temperature = <70000>;
			hysteresis = <2000>;
			type = "active";
		};

		main0_alert1: trip-point1 {
			temperature = <85000>;
			hysteresis = <2000>;
			type = "active";
		};
	};
};

&main1_crit {
	temperature = <105000>;
};

&main1_thermal {
	trips {
		main1_alert0: trip-point0 {
			temperature = <70000>;
			hysteresis = <2000>;
			type = "active";
		};

		main1_alert1: trip-point1 {
			temperature = <85000>;
			hysteresis = <2000>;
			type = "active";
		};
	};
};

&main2_crit {
	temperature = <105000>;
};

&main2_thermal {
	trips {
		main2_alert0: trip-point0 {
			temperature = <70000>;
			hysteresis = <2000>;
			type = "active";
		};

		main2_alert1: trip-point1 {
			temperature = <85000>;
			hysteresis = <2000>;
			type = "active";
		};
	};
};

&main3_crit {
	temperature = <105000>;
};

&main3_thermal {
	trips {
		main3_alert0: trip-point0 {
			temperature = <70000>;
			hysteresis = <2000>;
			type = "active";
		};

		main3_alert1: trip-point1 {
			temperature = <85000>;
			hysteresis = <2000>;
			type = "active";
		};
	};
};

&main4_crit {
	temperature = <105000>;
};

&main4_thermal {
	trips {
		main4_alert0: trip-point0 {
			temperature = <70000>;
			hysteresis = <2000>;
			type = "active";
		};

		main4_alert1: trip-point1 {
			temperature = <85000>;
			hysteresis = <2000>;
			type = "active";
		};
	};
};

/* Aquila ETH_2 SGMII PHY */
&main_cpsw0_port8 {
	phy-mode = "sgmii";
	phys = <&cpsw0_phy_gmii_sel 8>, <&serdes2_sgmii_link>;
	phy-names = "mac", "serdes";
	status = "disabled";
};

/* Aquila ETH_2_XGMII_MDIO */
&main_cpsw0_mdio {
	pinctrl-names = "default";
	pinctrl-0 = <&pinctrl_main_mdio1>;
};

/* Aquila PWM_1 */
&main_ehrpwm0 {
	pinctrl-names = "default";
	pinctrl-0 = <&pinctrl_main_ehrpwm0_b>;
	status = "disabled";
};

/* Aquila PWM_2 */
&main_ehrpwm1 {
	pinctrl-names = "default";
	pinctrl-0 = <&pinctrl_main_ehrpwm1_a>;
	status = "disabled";
};

/* Aquila PWM_4_DP */
&main_ehrpwm2 {
	pinctrl-names = "default";
	pinctrl-0 = <&pinctrl_main_ehrpwm2_a>;
	status = "disabled";
};

/* Aquila PWM_3_DSI */
&main_ehrpwm5 {
	pinctrl-names = "default";
	pinctrl-0 = <&pinctrl_main_ehrpwm5_a>;
	status = "disabled";
};

&main_gpio0 {
	gpio-line-names =
		"", /* 0 */
		"AQUILA_B17",
		"AQUILA_B18",
		"AQUILA_B53",
		"AQUILA_B54",
		"AQUILA_B59",
		"AQUILA_C18",
		"AQUILA_C19",
		"AQUILA_A13",
		"AQUILA_A12",
		"AQUILA_B75", /* 10 */
		"AQUILA_B77",
		"AQUILA_B42",
		"AQUILA_B44",
		"AQUILA_D19",
		"AQUILA_D20",
		"AQUILA_B58",
		"AQUILA_D24",
		"AQUILA_B45",
		"AQUILA_C06",
		"AQUILA_C05", /* 20 */
		"AQUILA_B57",
		"AQUILA_B90",
		"AQUILA_B89",
		"AQUILA_C26",
		"AQUILA_C25",
		"AQUILA_B22",
		"AQUILA_B21",
		"AQUILA_B74",
		"AQUILA_D25",
		"AQUILA_B24", /* 30 */
		"AQUILA_B43",
		"AQUILA_C38",
		"AQUILA_B46",
		"AQUILA_D23",
		"AQUILA_B35",
		"AQUILA_B37",
		"AQUILA_B36",
		"AQUILA_B38",
		"AQUILA_D09",
		"AQUILA_D12", /* 40 */
		"AQUILA_C35",
		"AQUILA_D10",
		"AQUILA_D11",
		"AQUILA_B81",
		"AQUILA_B48",
		"AQUILA_B49",
		"AQUILA_A11",
		"AQUILA_B19",
		"AQUILA_B23",
		"AQUILA_B20", /* 50 */
		"AQUILA_D16",
		"AQUILA_A06",
		"AQUILA_D14",
		"AQUILA_D15",
		"AQUILA_D17",
		"AQUILA_B41",
		"AQUILA_B40",
		"AQUILA_A01",
		"",
		"AQUILA_A08", /* 60 */
		"AQUILA_A10",
		"AQUILA_A02",
		"AQUILA_A03",
		"AQUILA_A05",
		"AQUILA_A07";

	status = "okay";
};

/* Aquila I2C_3_DSI1 */
&main_i2c0 {
	pinctrl-names = "default";
	pinctrl-0 = <&pinctrl_main_i2c0>;
	clock-frequency = <100000>;
	status = "disabled";
};

/* Aquila I2C_4_CSI1 */
&main_i2c1 {
	pinctrl-names = "default";
	pinctrl-0 = <&pinctrl_main_i2c1>;
	clock-frequency = <400000>;
	status = "disabled";
};

/* Aquila I2C_5_CSI2 */
&main_i2c2 {
	pinctrl-names = "default";
	pinctrl-0 = <&pinctrl_main_i2c2>;
	clock-frequency = <400000>;
	status = "disabled";
};

/* Aquila I2C_6 */
&main_i2c5 {
	pinctrl-names = "default";
	pinctrl-0 = <&pinctrl_main_i2c5>;
	clock-frequency = <400000>;
	status = "disabled";
};

/* Aquila CAN_1 */
&main_mcan10 {
	pinctrl-names = "default";
	pinctrl-0 = <&pinctrl_main_mcan10>;
	status = "disabled";
};

/* Aquila CAN_3 */
&main_mcan13 {
	pinctrl-names = "default";
	pinctrl-0 = <&pinctrl_main_mcan13>;
	status = "disabled";
};

/* On-module eMMC */
&main_sdhci0 {
	disable-wp;
	non-removable;
	ti,driver-strength-ohm = <50>;
	status = "okay";
};

/* Aquila SD_1 */
&main_sdhci1 {
	pinctrl-names = "default";
	pinctrl-0 = <&pinctrl_main_mmc1>, <&pinctrl_sd1_cd_gpio>;
	cd-gpios = <&main_gpio0 58 GPIO_ACTIVE_LOW>;
	disable-wp;
	vmmc-supply = <&reg_sdhc1_vmmc>;
	vqmmc-supply = <&reg_sdhc1_vqmmc>;
	ti,driver-strength-ohm = <50>;
	ti,fails-without-test-cd;
	status = "disabled";
};

/* Aquila SPI_2 */
&main_spi0 {
	pinctrl-names = "default";
	pinctrl-0 = <&pinctrl_main_spi0>, <&pinctrl_main_spi0_cs0>;
	cs-gpios = <&main_gpio0 51 GPIO_ACTIVE_LOW>;
	status = "disabled";
};

/* Aquila SPI_1 */
&main_spi2 {
	pinctrl-names = "default";
	pinctrl-0 = <&pinctrl_main_spi2>, <&pinctrl_main_spi2_cs0>;
	cs-gpios = <&main_gpio0 39 GPIO_ACTIVE_LOW>;
	status = "disabled";
};

/* Aquila UART_1 */
&main_uart4 {
	pinctrl-names = "default";
	pinctrl-0 = <&pinctrl_main_uart4>;
	status = "disabled";
};

/* Aquila UART_3, used as the Linux console */
&main_uart8 {
	pinctrl-names = "default";
	pinctrl-0 = <&pinctrl_main_uart8>;
	status = "disabled";
};

/* Aquila I2S_1 */
&mcasp4 {
	pinctrl-names = "default";
	pinctrl-0 = <&pinctrl_main_mcasp4>;
	op-mode = <0>;  /* MCASP_I2S_MODE */
	serial-dir = <	/* 0: INACTIVE, 1: TX, 2: RX */
		0 1 2 0
		0 0 0 0
		0 0 0 0
		0 0 0 0
	>;
	tdm-slots = <2>;
	#sound-dai-cells = <0>;
	status = "disabled";
};

&mcu_cpsw {
	pinctrl-names = "default";
	pinctrl-0 = <&pinctrl_mcu_rgmii1>;
	status = "disabled";
};

/* On-module ETH_1 RGMII */
&mcu_cpsw_port1 {
	phy-handle = <&mcu_phy0>;
	phy-mode = "rgmii-id";
	status = "disabled";
};

/* Aquila I2C_1 */
&mcu_i2c0 {
	pinctrl-names = "default";
	pinctrl-0 = <&pinctrl_mcu_i2c0>;
	clock-frequency = <400000>;
	status = "disabled";
};

/* Aquila I2C_2 */
&mcu_i2c1 {
	pinctrl-names = "default";
	pinctrl-0 = <&pinctrl_mcu_i2c1>;
	clock-frequency = <400000>;
	status = "disabled";
};

/* Aquila CAN_2 */
&mcu_mcan0 {
	pinctrl-names = "default";
	pinctrl-0 = <&pinctrl_mcu_mcan0>;
	status = "disabled";
};

/* Aquila CAN_4 */
&mcu_mcan1 {
	pinctrl-names = "default";
	pinctrl-0 = <&pinctrl_mcu_mcan1>;
	status = "disabled";
};

/* On-module SPI (TPM_SPI) */
&mcu_spi0 {
	pinctrl-names = "default";
	pinctrl-0 = <&pinctrl_mcu_spi0>;
	status = "okay";

	tpm@0 {
		compatible = "st,st33htpm-spi", "tcg,tpm_tis-spi";
		reg = <0>;
		pinctrl-names = "default";
		pinctrl-0 = <&pinctrl_tpm_irq>;
		interrupt-parent = <&wkup_gpio0>;
		interrupts = <81 IRQ_TYPE_EDGE_FALLING>;
		spi-max-frequency = <33000000>;
	};
};

/* Aquila UART_4 */
&mcu_uart0 {
	pinctrl-names = "default";
	pinctrl-0 = <&pinctrl_mcu_uart0_rx>, <&pinctrl_mcu_uart0_tx>;
	status = "disabled";
};

&mhdp {
	pinctrl-names = "default";
	pinctrl-0 = <&pinctrl_main_dp0_hpd>;
	phy-names = "dpphy";
	phys = <&serdes4_dp0_link>;
	status = "disabled";
};

/* Aquila QSPI_1 */
&ospi0 {
	pinctrl-names = "default";
	pinctrl-0 = <&pinctrl_mcu_ospi0_8bit>, <&pinctrl_mcu_ospi0_cs0>;
	status = "disabled";
};

/* Aquila PCIE_1 */
&pcie0_rc {
	pinctrl-names = "default";
	pinctrl-0 = <&pinctrl_pcie0_reset>;
	clocks = <&k3_clks 332 0>, <&serdes1 CDNS_TORRENT_REFCLK_DRIVER>;
	clock-names = "fck", "pcie_refclk";
	num-lanes = <2>;
	phy-names = "pcie-phy";
	phys = <&serdes1_pcie0_2l_link>;
	reset-gpios = <&main_gpio0 32 GPIO_ACTIVE_HIGH>;
	ti,syscon-acspcie-proxy-ctrl = <&acspcie1_proxy_ctrl 0x3>;
	status = "disabled";
};

/* Aquila PCIE_2 */
&pcie1_rc {
	pinctrl-names = "default";
	pinctrl-0 = <&pinctrl_pcie1_reset>;
	clocks = <&k3_clks 333 0>, <&serdes0 CDNS_TORRENT_REFCLK_DRIVER>;
	clock-names = "fck", "pcie_refclk";
	num-lanes = <2>;
	phy-names = "pcie-phy";
	phys = <&serdes0_pcie1_2l_link>;
	reset-gpios = <&main_gpio0 41 GPIO_ACTIVE_HIGH>;
	ti,syscon-acspcie-proxy-ctrl = <&acspcie0_proxy_ctrl 0x3>;
	status = "disabled";
};

/* On-module PCIe USB Bridge */
&pcie2_rc {
	clocks = <&k3_clks 334 0>, <&serdes1 CDNS_TORRENT_REFCLK_DRIVER>;
	clock-names = "fck", "pcie_refclk";
	num-lanes = <1>;
	phy-names = "pcie-phy";
	phys = <&serdes1_pcie2_1l_link>;
	reset-gpios = <&som_gpio_expander 3 GPIO_ACTIVE_HIGH>;
	ti,syscon-acspcie-proxy-ctrl = <&acspcie1_proxy_ctrl 0x3>;
	status = "okay";

	pci@0,0 {
		device_type = "pci";
		reg = <0x0 0x0 0x0 0x0 0x0>;

		#address-cells = <3>;
		#size-cells = <2>;
		ranges;

		usb@0 {
			compatible = "pci104c,8241";
			reg = <0x0 0x0 0x0 0x0 0x0>;
			ti,pwron-active-high;
		};
	};
};

/* PCIE for On-module Wi-Fi */
&pcie3_rc {
	clocks = <&k3_clks 335 0>, <&serdes0 CDNS_TORRENT_REFCLK_DRIVER>;
	clock-names = "fck", "pcie_refclk";
	num-lanes = <1>;
	phy-names = "pcie-phy";
	phys = <&serdes0_pcie3_1l_link>;
	reset-gpios = <&som_gpio_expander 4 GPIO_ACTIVE_HIGH>;
	ti,syscon-acspcie-proxy-ctrl = <&acspcie0_proxy_ctrl 0x3>;
	status = "okay";
};

&serdes0 {
	status = "okay";

	/* Aquila PCIE_2 */
	serdes0_pcie1_2l_link: phy@0 {
		reg = <0>;
		#phy-cells = <0>;
		resets = <&serdes_wiz0 1>, <&serdes_wiz0 2>;
		cdns,num-lanes = <2>;
		cdns,phy-type = <PHY_TYPE_PCIE>;
	};

	/* On-module PCIe Wi-Fi */
	serdes0_pcie3_1l_link: phy@2 {
		reg = <2>;
		#phy-cells = <0>;
		resets = <&serdes_wiz0 3>;
		cdns,num-lanes = <1>;
		cdns,phy-type = <PHY_TYPE_PCIE>;
	};

	/* Aquila USB0 SS */
	serdes0_usb0_ss_link: phy@3 {
		reg = <3>;
		#phy-cells = <0>;
		resets = <&serdes_wiz0 4>;
		cdns,num-lanes = <1>;
		cdns,phy-type = <PHY_TYPE_USB3>;
	};
};

&serdes1 {
	status = "okay";

	/* Aquila PCIE_1 */
	serdes1_pcie0_2l_link: phy@0 {
		reg = <0>;
		#phy-cells = <0>;
		resets = <&serdes_wiz1 1>, <&serdes_wiz1 2>;
		cdns,num-lanes = <2>;
		cdns,phy-type = <PHY_TYPE_PCIE>;
	};

	/* On-module PCIe USB Bridge */
	serdes1_pcie2_1l_link: phy@2 {
		reg = <2>;
		#phy-cells = <0>;
		resets = <&serdes_wiz1 3>;
		cdns,num-lanes = <1>;
		cdns,phy-type = <PHY_TYPE_PCIE>;
	};
};

&serdes2 {
	status = "disabled";

	/* Aquila ETH_2 xGMII */
	serdes2_sgmii_link: phy@3 {
		reg = <3>;
		#phy-cells = <0>;
		resets = <&serdes_wiz2 4>;
		cdns,num-lanes = <1>;
		cdns,phy-type = <PHY_TYPE_SGMII>;
	};
};

&serdes4 {
	status = "disabled";

	/* Aquila DP_1 */
	serdes4_dp0_link: phy@0 {
		reg = <0>;
		#phy-cells = <0>;
		resets = <&serdes_wiz4 1>, <&serdes_wiz4 2>,
			 <&serdes_wiz4 3>, <&serdes_wiz4 4>;
		cdns,max-bit-rate = <5400>;
		cdns,num-lanes = <4>;
		cdns,phy-type = <PHY_TYPE_DP>;
	};
};

&serdes_refclk {
	clock-frequency = <100000000>;
	status = "okay";
};

&serdes_ln_ctrl {
	idle-states = <J784S4_SERDES0_LANE0_PCIE1_LANE0>,     /* Aquila PCIE_2 L0          */
		      <J784S4_SERDES0_LANE1_PCIE1_LANE1>,     /* Aquila PCIE_2 L1          */
		      <J784S4_SERDES0_LANE2_PCIE3_LANE0>,     /* On-module PCIe Wi-Fi      */
		      <J784S4_SERDES0_LANE3_USB>,             /* Aquila USB0 SS            */
		      <J784S4_SERDES1_LANE0_PCIE0_LANE0>,     /* Aquila PCIE_1 L0          */
		      <J784S4_SERDES1_LANE1_PCIE0_LANE1>,     /* Aquila PCIE_1 L1          */
		      <J784S4_SERDES1_LANE2_PCIE2_LANE0>,     /* On-module PCIe USB Bridge */
		      <J784S4_SERDES1_LANE3_QSGMII_LANE2>,    /* Aquila SGMII MSP_9        */
		      <J784S4_SERDES2_LANE0_QSGMII_LANE5>,    /* Aquila SGMII MSP_6        */
		      <J784S4_SERDES2_LANE1_QSGMII_LANE6>,    /* Aquila SGMII MSP_7        */
		      <J784S4_SERDES2_LANE2_QSGMII_LANE7>,    /* Aquila SGMII MSP_8        */
		      <J784S4_SERDES2_LANE3_QSGMII_LANE8>,    /* Aquila ETH_2 xGMII        */
		      <J784S4_SERDES4_LANE0_EDP_LANE0>,       /* Aquila DP L0              */
		      <J784S4_SERDES4_LANE1_EDP_LANE1>,       /* Aquila DP L1              */
		      <J784S4_SERDES4_LANE2_EDP_LANE2>,       /* Aquila DP L2              */
		      <J784S4_SERDES4_LANE3_EDP_LANE3>;       /* Aquila DP L3              */
};

&serdes_wiz0 {
	status = "okay";
};

&serdes_wiz1 {
	status = "okay";
};

&serdes_wiz2 {
	status = "disabled";
};

&serdes_wiz4 {
	status = "disabled";
};

/* Aquila ADC_[1-4] */
&tscadc0 {
	pinctrl-names = "default";
	pinctrl-0 = <&pinctrl_mcu_adc0>;
	status = "disabled";

	adc {
		ti,adc-channels = <0 1 2 3>;
	};
};

&usb0 {
	phys = <&serdes0_usb0_ss_link>;
	phy-names = "cdns3,usb3-phy";
	dr_mode = "otg";
	maximum-speed = "super-speed";
	usb-role-switch;
	status = "disabled";
};

&usb_serdes_mux {
	idle-states = <0>; /* USB0 to SERDES lane 3 */
};

&usbss0 {
	ti,vbus-divider;
	status = "disabled";
};

&wkup_gpio0 {
	gpio-line-names =
		"", /* 0 */
		"",
		"",
		"AQUILA_C53",
		"AQUILA_B55",
		"AQUILA_B56",
		"AQUILA_B32",
		"AQUILA_B34",
		"AQUILA_C17",
		"AQUILA_C16",
		"AQUILA_D22", /* 10 */
		"",
		"",
		"",
		"",
		"",
		"AQUILA_B65",
		"AQUILA_C20",
		"AQUILA_B63",
		"AQUILA_B68",
		"AQUILA_B67", /* 20 */
		"AQUILA_B61",
		"AQUILA_B60",
		"AQUILA_B70",
		"AQUILA_B71",
		"AQUILA_B72",
		"AQUILC_B73",
		"AQUILA_B66",
		"AQUILA_B62",
		"AQUILA_C21",
		"AQUILA_C22", /* 30 */
		"AQUILA_C23",
		"AQUILA_C01",
		"AQUILA_C02",
		"",
		"AQUILA_D21",
		"",
		"AQUILA_C03",
		"AQUILA_C24",
		"AQUILA_C04",
		"AQUILA_B84", /* 40 */
		"",
		"AQUILA_B86",
		"AQUILA_B87",
		"",
		"",
		"AQUILA_B83",
		"",
		"",
		"",
		"", /* 50 */
		"",
		"",
		"",
		"",
		"",
		"",
		"",
		"AQUILA_B31",
		"AQUILA_B33",
		"AQUILA_B50", /* 60 */
		"AQUILA_B51",
		"",
		"",
		"",
		"AQUILA_D08",
		"",
		"",
		"",
		"",
		"", /* 70 */
		"AQUILA_D01",
		"AQUILA_D02",
		"AQUILA_D03",
		"AQUILA_D04",
		"AQUILA_D54",
		"AQUILA_D55",
		"AQUILA_C55",
		"AQUILA_C56",
		"",
		"AQUILA_C36", /* 80 */
		"",
		"",
		"",
		"",
		"",
		"",
		"AQUILA_D07",
		"";

	status = "okay";
};

/* On-module I2C - WKUP_I2C0 */
&wkup_i2c0 {
	pinctrl-names = "default";
	pinctrl-0 = <&pinctrl_wkup_i2c0>;
	clock-frequency = <400000>;
	status = "okay";

	som_gpio_expander: gpio@21 {
		compatible = "ti,tca6408";
		reg = <0x21>;
		#gpio-cells = <2>;
		gpio-controller;
		gpio-line-names =
			"USB_MUX_SEL",
			"COLD_RESET_REQ",
			"PWR_DOWN_REQ",
			"PCIE_3_RESET#",
			"PCIE_4_RESET#",
			"WIFI_DISABLE",
			"BT_DISABLE",
			"SDIO_PWR_SEL_3.3V";
	};

	rtc_i2c: rtc@32 {
		compatible = "epson,rx8130";
		reg = <0x32>;
	};

	tps62873a: regulator@40 {
		compatible = "ti,tps62873";
		reg = <0x40>;
		regulator-always-on;
		regulator-boot-on;
		regulator-max-microvolt = <900000>;
		regulator-min-microvolt = <600000>;
		regulator-name = "+VDD_CPU_AVS";
	};

	tps62873b: regulator@43 {
		compatible = "ti,tps62873";
		reg = <0x43>;
		regulator-always-on;
		regulator-boot-on;
		regulator-max-microvolt = <840000>;
		regulator-min-microvolt = <760000>;
		regulator-name = "+V0.8_VDD_CORE";
	};

	pmic_tps6594: pmic@48 {
		compatible = "ti,tps6594-q1";
		reg = <0x48>;
		pinctrl-names = "default";
		pinctrl-0 = <&pinctrl_pmic_int>;
		interrupt-parent = <&main_gpio0>;
		interrupts = <0 IRQ_TYPE_EDGE_FALLING>;
		#gpio-cells = <2>;
		gpio-controller;
		buck12-supply = <&reg_vin>;
		buck3-supply = <&reg_vin>;
		buck4-supply = <&reg_vin>;
		buck5-supply = <&reg_vin>;
		ldo1-supply = <&reg_vin>;
		ldo2-supply = <&reg_vin>;
		ldo3-supply = <&reg_vin>;
		ldo4-supply = <&reg_vin>;
		system-power-controller;
		ti,primary-pmic;

		regulators {
			reg_vdd_ddr: buck12 {
				regulator-always-on;
				regulator-boot-on;
				regulator-max-microvolt = <1100000>;
				regulator-min-microvolt = <1100000>;
				regulator-name = "+V1.1_VDD_DDR (PMIC BUCK12)";
			};

			reg_vdd_ram: buck3 {
				regulator-always-on;
				regulator-boot-on;
				regulator-max-microvolt = <850000>;
				regulator-min-microvolt = <850000>;
				regulator-name = "+V0.85_VDD_RAM (PMIC BUCK3)";
			};

			reg_vdd_io: buck4 {
				regulator-always-on;
				regulator-boot-on;
				regulator-max-microvolt = <1800000>;
				regulator-min-microvolt = <1800000>;
				regulator-name = "+V1.8_VDD_IO (PMIC BUCK4)";
			};

			reg_3v3_vio: buck5 {
				regulator-always-on;
				regulator-boot-on;
				regulator-max-microvolt = <3300000>;
				regulator-min-microvolt = <3300000>;
				regulator-name = "+V3.3_VIO (PMIC BUCK5)";
			};

			reg_vda_phy: ldo1 {
				regulator-always-on;
				regulator-boot-on;
				regulator-max-microvolt = <1800000>;
				regulator-min-microvolt = <1800000>;
				regulator-name = "+V1.8_VDA_PHY (PMIC LDO1)";
			};

			reg_2v5_eth: ldo2 {
				regulator-always-on;
				regulator-boot-on;
				regulator-max-microvolt = <2500000>;
				regulator-min-microvolt = <2500000>;
				regulator-name = "+V2.5_ETH (PMIC LDO2)";
			};

			reg_vda_dll: ldo3 {
				regulator-always-on;
				regulator-boot-on;
				regulator-max-microvolt = <800000>;
				regulator-min-microvolt = <800000>;
				regulator-name = "+V0.8_VDA_DLL (PMIC LDO3)";
			};

			reg_vda_pll: ldo4 {
				regulator-always-on;
				regulator-boot-on;
				regulator-max-microvolt = <1800000>;
				regulator-min-microvolt = <1800000>;
				regulator-name = "+V0.8_VDA_PLL (PMIC LDO4)";
			};
		};
	};

	temperature-sensor@4f {
		compatible = "ti,tmp1075";
		reg = <0x4f>;
	};

	som_eeprom: eeprom@50 {
		compatible = "st,24c02", "atmel,24c02";
		reg = <0x50>;
		pagesize = <16>;
	};
};

&wkup0_crit {
	temperature = <105000>;
};

&wkup0_thermal {
	trips {
		wkup0_alert0: trip-point0 {
			temperature = <70000>;
			hysteresis = <2000>;
			type = "active";
		};

		wkup0_alert1: trip-point1 {
			temperature = <85000>;
			hysteresis = <2000>;
			type = "active";
		};
	};
};

&wkup1_crit {
	temperature = <105000>;
};

&wkup1_thermal {
	trips {
		wkup1_alert0: trip-point0 {
			temperature = <70000>;
			hysteresis = <2000>;
			type = "active";
		};

		wkup1_alert1: trip-point1 {
			temperature = <85000>;
			hysteresis = <2000>;
			type = "active";
		};
	};
};

&wkup_gpio_intr {
	status = "okay";
};

/* Aquila UART_2 */
&wkup_uart0 {
	pinctrl-names = "default";
	pinctrl-0 = <&pinctrl_wkup_uart0>;
	status = "disabled";
};

#include "k3-j784s4-j742s2-ti-ipc-firmware-common.dtsi"
#include "k3-j784s4-ti-ipc-firmware.dtsi"
